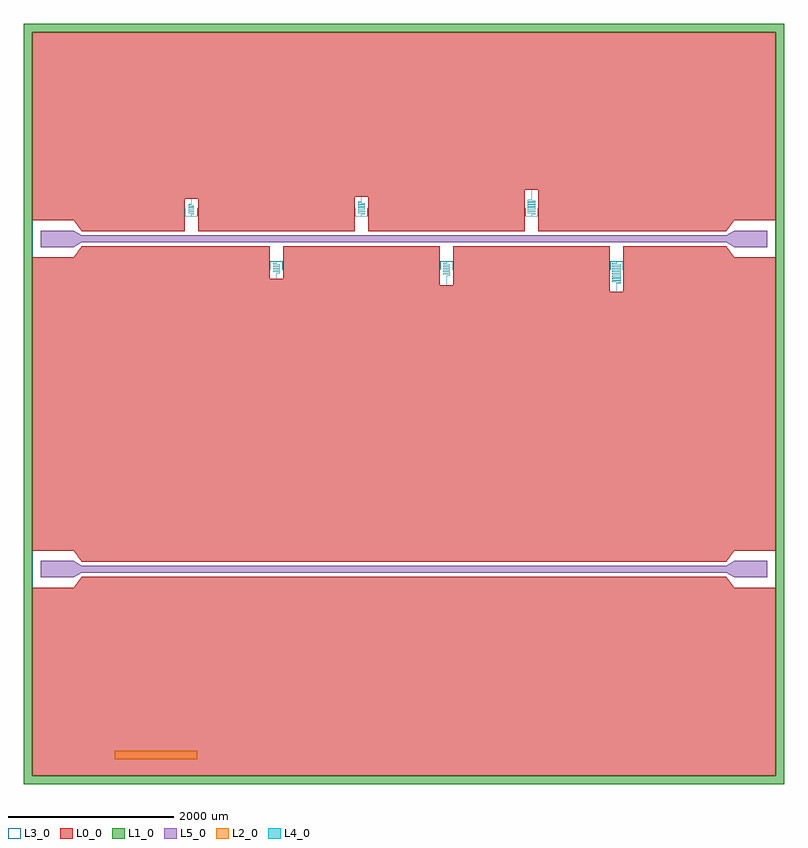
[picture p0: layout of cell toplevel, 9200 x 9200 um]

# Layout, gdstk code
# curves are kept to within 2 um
import gdstk
lib = gdstk.Library(unit=1e-6, precision=1e-09)
def R(c, l, rs):  # rectangles x0, y0, x1, y1
    for r in rs: c.add(gdstk.rectangle(r[:2], r[2:], *l))
def P(c, l, *ps):  # polygons
    for p in ps: c.add(gdstk.Polygon(p, *l))
L0_0 = (0, 0)
L1_0 = (1, 0)
L2_0 = (2, 0)
L3_0 = (3, 0)
L4_0 = (4, 0)
L5_0 = (5, 0)

toplevel = lib.new_cell('toplevel')
P(toplevel, L0_0, [(-2491.5,2485),(-2491.5,2090),(-597.3,2090),(-597.3,2510),(-432.3,2510),(-432.3,2090),(1461.9,2090),(1461.9,2595),(1626.9,2595),(1626.9,2090),(3900,2090),(4000,2225),(4500,2225),(4500,4500),(-4500,4500),(-4500,2225),(-4000,2225),(-3900,2090),(-2656.5,2090),(-2656.5,2485)],
  [(4500,1775),(4000,1775),(3900,1910),(2656.5,1910),(2656.5,1360),(2491.5,1360),(2491.5,1910),(597.3,1910),(597.3,1435),(432.3,1435),(432.3,1910),(-1461.9,1910),(-1461.9,1515),(-1626.9,1515),(-1626.9,1910),(-3900,1910),(-4000,1775),(-4500,1775),(-4500,-1775),(-4000,-1775),(-3900,-1910),(3900,-1910),(4000,-1775),(4500,-1775)],
  [(3900,-2090),(-3900,-2090),(-4000,-2225),(-4500,-2225),(-4500,-4500),(4500,-4500),(4500,-2225),(4000,-2225)])
P(toplevel, L1_0, [(4600,4600),(-4600,4600),(-4600,-4500),(-4500,-4500),(-4500,4500),(4500,4500),(4500,-4500),(-4500,-4500),(-4600,-4500),(-4600,-4600),(4600,-4600)])
R(toplevel, L2_0, [(-3500,-4300,-2500,-4200)])
R(toplevel, L3_0, [(-4500,-4500,4500,4500)])
P(toplevel, L4_0, [(-2573.699,2294.015),(-2573.561,2294.542),(-2573.029,2294.699),(-2543.27,2294.847),(-2542.7,2296.025),(-2542.701,2309.014),(-2543.052,2310.003),(-2544.025,2310.3),(-2604.317,2310.331),(-2604.699,2310.976),(-2604.599,2324.492),(-2543.532,2324.75),(-2542.933,2325.13),(-2542.704,2325.876),(-2542.847,2339.73),(-2544.008,2340.3),(-2604.321,2340.332),(-2604.699,2340.966),(-2604.633,2354.427),(-2603.96,2354.7),(-2543.532,2354.75),(-2542.933,2355.13),(-2542.705,2355.864),(-2542.797,2369.619),(-2543.231,2370.132),(-2543.997,2370.3),(-2604.321,2370.332),(-2604.699,2370.961),(-2604.664,2384.336),(-2603.965,2384.7),(-2543.532,2384.75),(-2542.933,2385.13),(-2542.705,2385.864),(-2542.7,2398.942),(-2542.997,2399.948),(-2543.997,2400.3),(-2603.883,2400.3),(-2604.636,2400.579),(-2604.699,2414.02),(-2604.439,2414.628),(-2574.946,2414.702),(-2574.205,2414.883),(-2573.792,2415.394),(-2573.7,2485),(-2574.3,2485),(-2574.355,2415.602),(-2574.923,2415.302),(-2604.698,2415.169),(-2605.296,2414.112),(-2605.224,2400.44),(-2604.795,2399.883),(-2604.065,2399.702),(-2543.686,2399.67),(-2543.302,2399.063),(-2543.34,2385.65),(-2544.096,2385.3),(-2604.468,2385.25),(-2605.085,2384.845),(-2605.297,2384.106),(-2605.253,2370.546),(-2604.852,2369.92),(-2604.083,2369.702),(-2543.694,2369.671),(-2543.302,2369.072),(-2543.327,2355.702),(-2543.956,2355.301),(-2604.435,2355.257),(-2605.044,2354.9),(-2605.295,2354.148),(-2605.253,2340.546),(-2604.852,2339.92),(-2604.083,2339.702),(-2543.671,2339.666),(-2543.3,2338.95),(-2543.316,2325.761),(-2543.956,2325.301),(-2604.474,2325.248),(-2605.067,2324.87),(-2605.296,2324.112),(-2605.274,2310.655),(-2604.888,2309.947),(-2604.083,2309.702),(-2543.679,2309.668),(-2543.302,2309.072),(-2543.36,2295.589),(-2543.971,2295.301),(-2573.724,2295.157),(-2574.296,2294.124),(-2574.3,2280),(-2584,2275),(-2644.62,2275),(-2646.235,2275.24),(-2646.5,2276.9),(-2646.502,2370.109),(-2646.782,2371.154),(-2647.393,2371.915),(-2648.353,2372.415),(-2649.434,2372.462),(-2650.915,2371.607),(-2651.498,2370.109),(-2651.5,2276.88),(-2651.154,2274.052),(-2649.964,2271.905),(-2648.031,2270.556),(-2645.327,2270.014),(-2503.356,2270),(-2500.987,2270.229),(-2499.139,2270.984),(-2497.197,2273.157),(-2496.507,2276.385),(-2496.5,2370),(-2496.734,2371.056),(-2497.393,2371.915),(-2498.459,2372.441),(-2499.541,2372.441),(-2500.915,2371.607),(-2501.498,2370.109),(-2501.5,2276.88),(-2501.751,2275.251),(-2503.38,2275),(-2564,2275),(-2573.7,2280)],
  [(-1544.707,1705.85),(-1544.881,1705.419),(-1545.48,1705.3),(-1583.045,1705.192),(-1583.529,1704.776),(-1583.698,1704.077),(-1583.699,1690.952),(-1583.276,1689.937),(-1582.299,1689.7),(-1506.133,1689.679),(-1505.702,1689.048),(-1505.828,1675.47),(-1582.77,1675.27),(-1583.444,1674.9),(-1583.697,1674.094),(-1583.497,1660.173),(-1582.299,1659.7),(-1506.141,1659.68),(-1505.702,1659.058),(-1505.781,1645.543),(-1506.501,1645.3),(-1582.854,1645.253),(-1583.48,1644.852),(-1583.696,1644.118),(-1583.584,1630.335),(-1583.169,1629.868),(-1582.454,1629.701),(-1506.098,1629.672),(-1505.702,1629.077),(-1505.76,1615.589),(-1506.501,1615.3),(-1582.739,1615.275),(-1583.444,1614.9),(-1583.695,1614.147),(-1583.7,1601.101),(-1583.414,1600.064),(-1582.46,1599.702),(-1506.455,1599.7),(-1505.776,1599.448),(-1505.701,1585.99),(-1505.995,1585.358),(-1543.425,1585.299),(-1544.143,1585.146),(-1544.572,1584.691),(-1544.7,1515),(-1544.1,1515),(-1544.028,1584.439),(-1543.38,1584.7),(-1505.775,1584.8),(-1505.287,1585.199),(-1505.103,1585.9),(-1505.2,1599.625),(-1505.637,1600.136),(-1506.419,1600.3),(-1582.679,1600.323),(-1583.099,1600.956),(-1583.05,1614.385),(-1582.35,1614.7),(-1505.997,1614.736),(-1505.356,1615.099),(-1505.105,1615.852),(-1505.168,1629.533),(-1505.599,1630.113),(-1506.414,1630.3),(-1582.683,1630.324),(-1583.099,1630.956),(-1583.062,1644.343),(-1582.35,1644.7),(-1505.952,1644.745),(-1505.356,1645.099),(-1505.106,1645.846),(-1505.15,1659.468),(-1505.573,1660.097),(-1506.408,1660.3),(-1582.683,1660.324),(-1583.098,1660.952),(-1583.071,1674.31),(-1582.355,1674.7),(-1505.952,1674.745),(-1505.356,1675.099),(-1505.106,1675.846),(-1505.138,1689.416),(-1505.548,1690.08),(-1506.403,1690.3),(-1582.679,1690.323),(-1583.098,1690.942),(-1583.035,1704.424),(-1582.434,1704.699),(-1544.755,1704.808),(-1544.283,1705.205),(-1544.103,1705.888),(-1544.1,1720),(-1534.4,1725),(-1473.8,1725),(-1472.179,1724.77),(-1471.9,1723.12),(-1471.898,1629.891),(-1471.618,1628.846),(-1471.007,1628.085),(-1470.047,1627.585),(-1468.966,1627.538),(-1467.485,1628.393),(-1466.902,1629.891),(-1466.9,1723.144),(-1467.246,1725.947),(-1468.407,1728.063),(-1470.369,1729.444),(-1473.1,1729.987),(-1615.02,1730),(-1617.413,1729.771),(-1619.261,1729.016),(-1620.364,1728.095),(-1621.203,1726.843),(-1621.893,1723.615),(-1621.9,1630),(-1621.666,1628.944),(-1621.007,1628.085),(-1619.941,1627.559),(-1618.859,1627.559),(-1617.485,1628.393),(-1616.902,1629.891),(-1616.9,1723.1),(-1616.653,1724.744),(-1615,1725),(-1554.4,1725),(-1544.7,1720)],
  [(-514.499,2294.02),(-514.352,2294.552),(-513.895,2294.697),(-477.655,2294.808),(-477.171,2295.224),(-477.002,2295.923),(-477.001,2309.048),(-477.382,2310.029),(-478.401,2310.3),(-551.575,2310.322),(-551.999,2310.966),(-551.872,2324.53),(-477.858,2324.744),(-477.261,2325.093),(-477.007,2325.816),(-477.001,2339.042),(-477.203,2339.827),(-478.396,2340.3),(-551.567,2340.321),(-551.999,2340.956),(-551.919,2354.457),(-551.199,2354.7),(-477.923,2354.731),(-477.252,2355.106),(-477.002,2355.911),(-477.113,2369.658),(-477.563,2370.15),(-478.396,2370.3),(-551.617,2370.331),(-551.998,2370.942),(-551.94,2384.411),(-551.199,2384.7),(-477.845,2384.747),(-477.22,2385.148),(-477.004,2385.882),(-477.078,2399.566),(-477.524,2400.129),(-478.396,2400.3),(-551.602,2400.328),(-551.997,2400.923),(-551.956,2414.364),(-551.199,2414.7),(-477.865,2414.743),(-477.256,2415.099),(-477.005,2415.852),(-477,2428.899),(-477.281,2429.93),(-478.235,2430.298),(-551.245,2430.3),(-551.922,2430.549),(-551.999,2444.01),(-551.711,2444.64),(-515.774,2444.701),(-515.057,2444.854),(-514.631,2445.302),(-514.5,2510),(-515.1,2510),(-515.173,2445.558),(-515.82,2445.3),(-551.945,2445.192),(-552.421,2444.788),(-552.597,2444.094),(-552.498,2430.368),(-552.056,2429.86),(-551.281,2429.7),(-478.013,2429.675),(-477.601,2429.039),(-477.65,2415.615),(-478.35,2415.3),(-551.709,2415.263),(-552.348,2414.894),(-552.595,2414.147),(-552.532,2400.467),(-552.101,2399.887),(-551.292,2399.7),(-478.013,2399.675),(-477.601,2399.044),(-477.637,2385.66),(-478.345,2385.3),(-551.709,2385.263),(-552.348,2384.894),(-552.595,2384.147),(-552.55,2370.532),(-552.133,2369.907),(-551.297,2369.7),(-478.013,2369.675),(-477.601,2369.044),(-477.629,2355.694),(-478.345,2355.3),(-551.709,2355.263),(-552.344,2354.9),(-552.594,2354.153),(-552.563,2340.591),(-552.152,2339.92),(-551.297,2339.7),(-478.013,2339.675),(-477.602,2339.048),(-477.623,2325.721),(-477.821,2325.393),(-478.34,2325.3),(-551.709,2325.263),(-552.344,2324.9),(-552.594,2324.153),(-552.57,2310.629),(-552.17,2309.933),(-551.303,2309.7),(-478.017,2309.676),(-477.602,2309.053),(-477.642,2295.643),(-478.261,2295.301),(-514.465,2295.184),(-514.925,2294.782),(-515.097,2294.106),(-515.1,2280),(-524.8,2275),(-585.42,2275),(-587.018,2275.228),(-587.3,2276.9),(-587.302,2370.109),(-587.582,2371.154),(-588.193,2371.915),(-589.153,2372.415),(-590.234,2372.462),(-591.715,2371.607),(-592.298,2370.109),(-592.3,2276.88),(-591.954,2274.052),(-590.764,2271.905),(-588.831,2270.556),(-586.127,2270.014),(-444.156,2270),(-441.787,2270.229),(-439.939,2270.984),(-438.807,2271.937),(-437.997,2273.157),(-437.479,2274.715),(-437.307,2276.385),(-437.3,2370),(-437.534,2371.056),(-438.193,2371.915),(-439.259,2372.441),(-440.341,2372.441),(-441.715,2371.607),(-442.298,2370.109),(-442.3,2276.88),(-442.551,2275.251),(-444.18,2275),(-504.8,2275),(-514.5,2280)],
  [(514.497,1705.905),(514.307,1705.411),(513.72,1705.3),(474.207,1705.213),(473.664,1704.763),(473.5,1703.981),(473.501,1690.963),(473.936,1689.928),(474.847,1689.7),(555.071,1689.678),(555.396,1689.497),(555.499,1689.029),(555.374,1675.472),(554.735,1675.3),(474.41,1675.267),(473.756,1674.9),(473.504,1674.13),(473.5,1661.008),(473.703,1660.173),(474.83,1659.7),(555.071,1659.678),(555.394,1659.5),(555.499,1659.039),(555.41,1645.526),(554.74,1645.3),(474.41,1645.267),(473.756,1644.9),(473.505,1644.142),(473.634,1630.296),(474.037,1629.864),(474.819,1629.7),(555.071,1629.678),(555.499,1629.044),(555.432,1615.57),(554.745,1615.3),(474.41,1615.267),(473.761,1614.906),(473.505,1614.147),(473.581,1600.427),(474.018,1599.875),(474.819,1599.7),(555.095,1599.674),(555.499,1599.02),(555.453,1585.625),(554.694,1585.3),(474.442,1585.272),(473.737,1584.876),(473.503,1584.106),(473.5,1571.101),(473.791,1570.058),(474.746,1569.701),(554.75,1569.7),(555.462,1569.343),(555.499,1555.98),(555.195,1555.354),(515.763,1555.299),(514.986,1555.105),(514.57,1554.54),(514.5,1435),(515.1,1435),(515.144,1554.364),(515.815,1554.7),(555.406,1554.792),(555.909,1555.192),(556.096,1555.888),(556.04,1569.507),(555.614,1570.105),(554.786,1570.3),(474.529,1570.322),(474.102,1570.952),(474.134,1584.328),(474.85,1584.7),(555.177,1584.731),(555.834,1585.088),(556.093,1585.828),(556.057,1599.435),(555.633,1600.093),(554.837,1600.299),(474.509,1600.325),(474.103,1600.914),(474.13,1614.314),(474.329,1614.612),(474.906,1614.7),(555.139,1614.725),(555.844,1615.099),(556.095,1615.852),(556.069,1629.377),(555.639,1630.089),(554.699,1630.3),(474.517,1630.324),(474.104,1630.9),(474.119,1644.255),(474.329,1644.612),(474.906,1644.7),(555.196,1644.735),(555.844,1645.099),(556.092,1645.804),(556.071,1659.364),(555.645,1660.085),(554.699,1660.3),(474.549,1660.318),(474.206,1660.5),(474.102,1660.947),(474.118,1674.251),(474.329,1674.612),(474.906,1674.7),(555.216,1674.738),(555.844,1675.099),(556.095,1675.852),(556.073,1689.351),(555.652,1690.08),(554.699,1690.3),(474.549,1690.318),(474.103,1690.914),(474.129,1704.31),(474.329,1704.612),(474.886,1704.7),(514.439,1704.805),(514.921,1705.211),(515.094,1705.84),(515.1,1720),(524.8,1725),(585.4,1725),(587.018,1724.772),(587.3,1723.1),(587.302,1629.891),(587.582,1628.846),(588.193,1628.085),(589.153,1627.585),(590.234,1627.538),(591.715,1628.393),(592.298,1629.891),(592.3,1723.12),(591.954,1725.947),(590.764,1728.095),(588.831,1729.444),(586.1,1729.987),(444.18,1730),(441.787,1729.771),(439.939,1729.016),(438.807,1728.063),(437.997,1726.843),(437.479,1725.285),(437.307,1723.615),(437.3,1630),(437.534,1628.944),(438.193,1628.085),(439.259,1627.559),(440.341,1627.559),(441.715,1628.393),(442.298,1629.891),(442.3,1723.12),(442.551,1724.749),(444.2,1725),(504.8,1725),(514.5,1720)],
  [(1544.7,2293.888),(1544.823,2294.523),(1545.328,2294.698),(1589.012,2294.795),(1589.521,2295.211),(1589.7,2296.014),(1589.699,2309.048),(1589.239,2310.089),(1588.348,2310.3),(1500.145,2310.319),(1499.809,2310.495),(1499.701,2310.966),(1499.837,2324.54),(1500.47,2324.7),(1588.764,2324.729),(1589.439,2325.093),(1589.696,2325.876),(1589.699,2339.02),(1589.467,2339.87),(1588.353,2340.3),(1500.117,2340.324),(1499.798,2340.513),(1499.701,2340.98),(1499.788,2354.471),(1500.506,2354.7),(1588.777,2354.731),(1589.439,2355.093),(1589.693,2355.822),(1589.557,2369.724),(1589.098,2370.169),(1588.299,2370.3),(1500.133,2370.321),(1499.796,2370.516),(1499.701,2370.961),(1499.765,2384.424),(1500.506,2384.7),(1588.77,2384.73),(1589.429,2385.082),(1589.692,2385.804),(1589.598,2399.632),(1589.188,2400.121),(1588.442,2400.299),(1500.141,2400.32),(1499.804,2400.503),(1499.702,2400.952),(1499.747,2414.375),(1500.506,2414.7),(1588.764,2414.729),(1589.439,2415.093),(1589.697,2415.906),(1589.643,2429.494),(1589.227,2430.097),(1588.442,2430.299),(1500.145,2430.319),(1499.812,2430.491),(1499.702,2430.937),(1499.731,2444.317),(1499.938,2444.616),(1500.506,2444.7),(1588.751,2444.727),(1589.424,2445.076),(1589.692,2445.81),(1589.7,2458.899),(1589.434,2459.912),(1588.442,2460.299),(1500.455,2460.3),(1499.743,2460.639),(1499.701,2474.024),(1500.022,2474.652),(1543.425,2474.701),(1544.195,2474.883),(1544.619,2475.427),(1544.7,2595),(1544.1,2595),(1544.051,2475.618),(1543.375,2475.3),(1499.827,2475.219),(1499.303,2474.827),(1499.104,2474.118),(1499.168,2460.467),(1499.599,2459.887),(1500.419,2459.7),(1588.659,2459.68),(1588.991,2459.504),(1589.098,2459.048),(1589.062,2445.657),(1588.851,2445.378),(1588.345,2445.3),(1500.042,2445.272),(1499.371,2444.918),(1499.106,2444.16),(1499.152,2430.526),(1499.573,2429.903),(1500.414,2429.7),(1588.659,2429.68),(1588.989,2429.507),(1589.098,2429.053),(1589.07,2415.686),(1588.865,2415.385),(1588.35,2415.3),(1500.042,2415.272),(1499.371,2414.918),(1499.106,2414.16),(1499.141,2400.571),(1499.561,2399.911),(1500.414,2399.7),(1588.659,2399.68),(1588.989,2399.507),(1589.098,2399.053),(1589.075,2385.709),(1588.873,2385.39),(1588.35,2385.3),(1500.042,2385.272),(1499.371,2384.918),(1499.106,2384.16),(1499.133,2370.61),(1499.542,2369.924),(1500.408,2369.7),(1588.659,2369.68),(1588.989,2369.507),(1589.098,2369.053),(1589.078,2355.729),(1588.879,2355.393),(1588.35,2355.3),(1500.049,2355.273),(1499.376,2354.924),(1499.107,2354.171),(1499.13,2340.629),(1499.524,2339.937),(1500.374,2339.701),(1588.667,2339.679),(1588.984,2339.514),(1589.098,2339.077),(1589.081,2325.745),(1588.862,2325.384),(1588.294,2325.3),(1500.074,2325.277),(1499.381,2324.93),(1499.106,2324.16),(1499.127,2310.649),(1499.493,2309.961),(1500.358,2309.701),(1588.639,2309.684),(1588.97,2309.532),(1589.097,2309.095),(1589.069,2295.683),(1588.86,2295.382),(1588.314,2295.3),(1544.794,2295.208),(1544.294,2294.814),(1544.102,2294.077),(1544.1,2280),(1534.4,2275),(1473.78,2275),(1472.196,2275.219),(1471.9,2276.88),(1471.898,2370.109),(1471.618,2371.154),(1471.007,2371.915),(1470.047,2372.415),(1469.074,2372.479),(1468.246,2372.218),(1467.557,2371.689),(1467.09,2370.957),(1466.902,2370.109),(1466.9,2276.856),(1467.246,2274.052),(1468.407,2271.937),(1470.335,2270.57),(1473.073,2270.014),(1615.044,2270),(1617.413,2270.229),(1619.261,2270.984),(1620.364,2271.905),(1621.203,2273.157),(1621.721,2274.715),(1621.893,2276.385),(1621.9,2370),(1621.666,2371.056),(1621.007,2371.915),(1619.941,2372.441),(1618.859,2372.441),(1617.485,2371.607),(1616.902,2370.109),(1616.9,2276.9),(1616.653,2275.256),(1615.02,2275),(1554.4,2275),(1544.7,2280)],
  [(2573.699,1705.971),(2573.552,1705.448),(2573.067,1705.302),(2524.434,1705.222),(2523.907,1704.833),(2523.702,1704.077),(2523.702,1690.94),(2523.831,1690.302),(2524.199,1689.887),(2525.106,1689.7),(2623.275,1689.678),(2623.589,1689.507),(2623.699,1689.02),(2623.698,1675.942),(2623.53,1675.428),(2524.674,1675.277),(2523.976,1674.924),(2523.705,1674.147),(2523.701,1660.952),(2523.952,1660.105),(2524.368,1659.802),(2525.106,1659.7),(2623.275,1659.678),(2623.586,1659.512),(2623.699,1659.024),(2623.586,1645.488),(2622.894,1645.3),(2524.623,1645.269),(2523.956,1644.9),(2523.706,1644.165),(2523.701,1630.952),(2523.871,1630.224),(2524.368,1629.802),(2525.106,1629.7),(2623.206,1629.688),(2623.581,1629.519),(2623.699,1629.034),(2623.633,1615.573),(2622.894,1615.3),(2524.636,1615.271),(2523.971,1614.918),(2523.707,1614.184),(2523.808,1600.355),(2524.276,1599.843),(2525.106,1599.7),(2623.263,1599.68),(2623.601,1599.489),(2623.699,1599.039),(2623.652,1585.622),(2623.408,1585.359),(2622.894,1585.3),(2524.636,1585.271),(2523.947,1584.888),(2523.702,1584.083),(2523.774,1570.447),(2524.192,1569.89),(2524.969,1569.701),(2623.255,1569.681),(2623.594,1569.5),(2623.698,1569.053),(2623.652,1555.622),(2623.408,1555.359),(2622.894,1555.3),(2524.642,1555.272),(2523.961,1554.906),(2523.703,1554.094),(2523.757,1540.506),(2524.186,1539.894),(2524.969,1539.701),(2623.251,1539.682),(2623.586,1539.512),(2623.698,1539.063),(2623.667,1525.675),(2623.454,1525.379),(2622.894,1525.3),(2524.655,1525.274),(2523.981,1524.93),(2523.708,1524.19),(2523.757,1510.506),(2524.186,1509.894),(2524.969,1509.701),(2623.239,1509.684),(2623.574,1509.527),(2623.698,1509.077),(2623.667,1495.675),(2623.451,1495.378),(2622.894,1495.3),(2524.674,1495.277),(2523.952,1494.894),(2523.705,1494.147),(2523.7,1481.101),(2523.976,1480.076),(2524.969,1479.701),(2622.94,1479.7),(2623.628,1479.439),(2623.699,1465.976),(2623.615,1465.535),(2623.357,1465.342),(2574.992,1465.299),(2574.244,1465.139),(2573.81,1464.652),(2573.7,1360),(2574.3,1360),(2574.364,1464.421),(2575.035,1464.7),(2623.54,1464.77),(2624.089,1465.161),(2624.296,1465.882),(2624.208,1479.606),(2623.763,1480.136),(2622.97,1480.3),(2524.761,1480.316),(2524.414,1480.488),(2524.302,1480.947),(2524.349,1494.382),(2524.567,1494.631),(2525.06,1494.7),(2623.332,1494.724),(2624.024,1495.076),(2624.294,1495.84),(2624.23,1509.54),(2623.795,1510.117),(2622.975,1510.3),(2524.761,1510.316),(2524.414,1510.488),(2524.302,1510.947),(2524.339,1524.347),(2524.552,1524.624),(2525.06,1524.7),(2623.332,1524.724),(2624.024,1525.076),(2624.294,1525.84),(2624.246,1539.481),(2623.82,1540.101),(2622.981,1540.3),(2524.757,1540.317),(2524.414,1540.488),(2524.302,1540.947),(2524.332,1554.321),(2524.54,1554.618),(2525.055,1554.7),(2623.332,1554.724),(2624.019,1555.07),(2624.294,1555.834),(2624.256,1569.441),(2623.833,1570.093),(2622.981,1570.3),(2524.757,1570.317),(2524.414,1570.488),(2524.302,1570.947),(2524.327,1584.298),(2524.532,1584.613),(2525.055,1584.7),(2623.332,1584.724),(2624.019,1585.07),(2624.294,1585.834),(2624.264,1599.403),(2623.852,1600.08),(2622.981,1600.3),(2524.757,1600.317),(2524.414,1600.488),(2524.302,1600.942),(2524.323,1614.279),(2524.524,1614.609),(2525.05,1614.7),(2623.332,1614.724),(2624.019,1615.07),(2624.294,1615.834),(2624.27,1629.37),(2623.864,1630.071),(2622.986,1630.3),(2524.757,1630.317),(2524.414,1630.488),(2524.302,1630.942),(2524.32,1644.259),(2524.516,1644.604),(2525.05,1644.7),(2623.332,1644.724),(2624.019,1645.07),(2624.294,1645.834),(2624.274,1659.345),(2623.87,1660.067),(2622.986,1660.3),(2524.757,1660.317),(2524.414,1660.488),(2524.302,1660.942),(2524.317,1674.243),(2524.511,1674.601),(2525.05,1674.7),(2623.332,1674.724),(2624.019,1675.07),(2624.294,1675.834),(2624.277,1689.326),(2623.876,1690.062),(2622.986,1690.3),(2524.761,1690.316),(2524.416,1690.486),(2524.302,1690.937),(2524.325,1704.287),(2524.516,1704.604),(2524.985,1704.699),(2573.559,1704.776),(2574.093,1705.167),(2574.296,1705.87),(2574.3,1720),(2584,1725),(2644.6,1725),(2646.204,1724.781),(2646.431,1724.232),(2646.5,1723.1),(2646.502,1629.891),(2646.782,1628.846),(2647.393,1628.085),(2648.353,1627.585),(2649.326,1627.521),(2650.154,1627.782),(2650.843,1628.311),(2651.31,1629.043),(2651.498,1629.891),(2651.5,1723.12),(2651.154,1725.947),(2650.678,1727.085),(2649.964,1728.095),(2649.066,1728.882),(2648.031,1729.444),(2645.3,1729.987),(2503.38,1730),(2500.987,1729.771),(2499.139,1729.016),(2498.036,1728.095),(2497.197,1726.843),(2496.679,1725.285),(2496.507,1723.615),(2496.5,1630),(2496.734,1628.944),(2497.393,1628.085),(2498.459,1627.559),(2499.541,1627.559),(2500.343,1627.891),(2500.915,1628.393),(2501.31,1629.043),(2501.498,1629.891),(2501.5,1723.12),(2501.751,1724.749),(2503.4,1725),(2564,1725),(2573.7,1720)])
P(toplevel, L5_0, [(-3900,2040),(-4000,2100),(-4400,2100),(-4400,1900),(-4000,1900),(-3900,1960),(3900,1960),(4000,1900),(4400,1900),(4400,2100),(4000,2100),(3900,2040)],
  [(-3900,-1960),(-4000,-1900),(-4400,-1900),(-4400,-2100),(-4000,-2100),(-3900,-2040),(3900,-2040),(4000,-2100),(4400,-2100),(4400,-1900),(4000,-1900),(3900,-1960)])

lib.write_gds('toplevel.gds')
